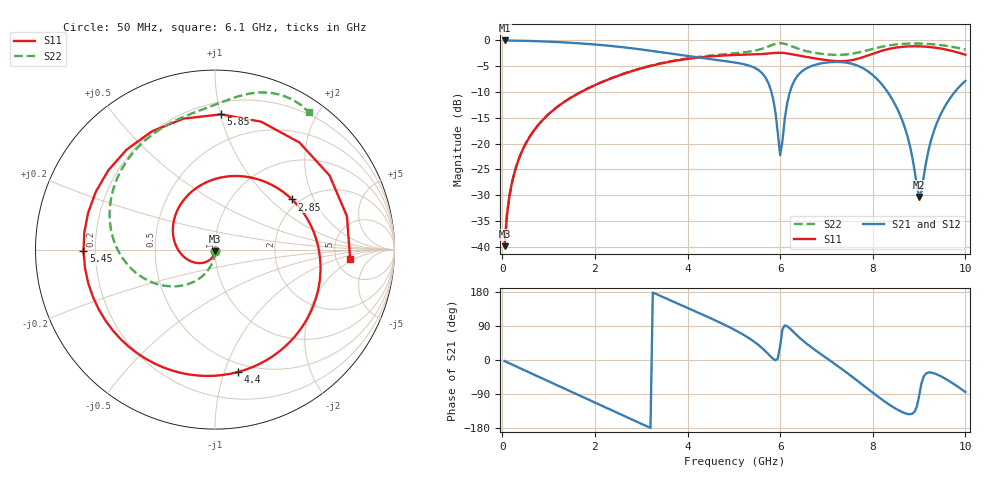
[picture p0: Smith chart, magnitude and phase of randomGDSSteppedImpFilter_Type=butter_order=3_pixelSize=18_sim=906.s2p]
! freq	dB(S11)	phase(S11)	dB(S12)	phase(S12)
!  dB(S21)	phase(S21)	dB(S22)	phase(S22)
!S-par simulation data
#  GHz  S  DB  R 50
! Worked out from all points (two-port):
!   200 points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, 50 MHz to 10 GHz, reference 50 ohm
!   highest |S21| = -0.01 dB at 50 MHz (marker M1); lowest = -30.4 dB at 9 GHz (marker M2)
!   |S21| within 3 dB of the highest: start of sweep to 3.982 GHz
!   lowest |S11| = -39.9 dB at 50 MHz (marker M3), VSWR 1.02, Z = 49.9 - j1.01 ohm
!   |S11| at or under -10 dB: start of sweep to 1.698 GHz
!   |S22| runs from -39.9 to -0.5 dB; largest |S21 - S12| = 0
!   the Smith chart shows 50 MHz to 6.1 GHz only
!   S11 on the Smith chart (normalised r, x): 50 MHz: 1.00, -0.02; 2.85 GHz: 1.83, +1.38; 4.4 GHz: 0.42, -1.11; 5.45 GHz: 0.15, -0.01; 5.85 GHz: 0.29, +1.00; 6.1 GHz: 6.76, -1.58
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0.05  -39.87 -92.4  -0.01 -2.9  -0.01 -2.9  -39.87 -91.0
0.2  -27.95 -106.6  -0.03 -11.4  -0.03 -11.4  -27.92 -95.9
0.5  -20.12 -131.9  -0.08 -28.2  -0.08 -28.2  -20.06 -105.5
1.75  -9.76 123.0  -0.61 -98.4  -0.61 -98.4  -9.73 -141.3
2.85  -5.81 33.1  -1.58 -159.9  -1.58 -159.9  -5.77 -174.3
3.4  -4.52 -8.4  -2.25 169.9  -2.25 169.9  -4.46 167.1
4.4  -3.17 -79.5  -3.52 115.7  -3.52 115.7  -3.02 130.7
5.05  -2.81 -131.7  -4.32 77.4  -4.32 77.4  -2.47 106.6
5.45  -2.70 -179.3  -5.31 47.3  -5.31 47.3  -1.98 92.1
5.65  -2.61 143.4  -6.77 27.0  -6.77 27.0  -1.49 84.4
5.85  -2.45 87.5  -11.42 2.9  -11.42 2.9  -0.81 74.0
6  -2.38 33.0  -22.24 37.3  -22.24 37.3  -0.53 63.2
6.1  -2.45 -3.8  -15.16 91.2  -15.16 91.2  -0.66 55.7
6.35  -2.84 -76.3  -7.18 66.5  -7.18 66.5  -1.49 41.6
6.7  -3.40 -140.5  -4.89 31.2  -4.89 31.2  -2.33 28.3
7.1  -3.92 160.2  -4.20 -3.5  -4.20 -3.5  -2.77 15.5
7.55  -3.82 88.2  -4.53 -43.8  -4.53 -43.8  -2.58 2.6
8  -2.57 14.5  -6.72 -86.4  -6.72 -86.4  -1.64 -13.5
8.35  -1.65 -35.0  -10.39 -117.2  -10.39 -117.2  -0.97 -29.8
9  -1.15 -109.3  -30.35 -95.5  -30.35 -95.5  -0.61 -62.1
9.55  -1.71 -170.0  -12.90 -48.3  -12.90 -48.3  -0.99 -88.0
10  -2.78 127.8  -7.86 -84.6  -7.86 -84.6  -1.77 -106.7
